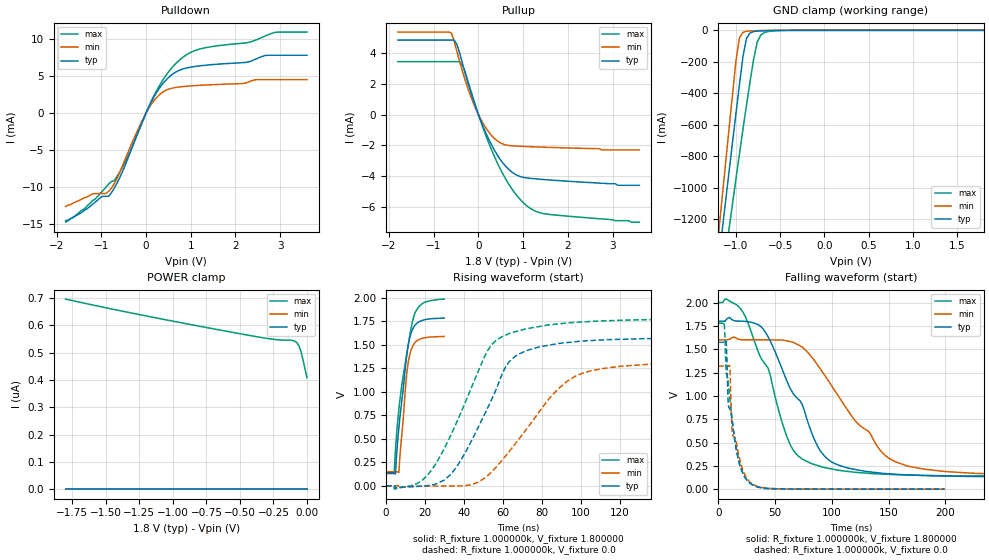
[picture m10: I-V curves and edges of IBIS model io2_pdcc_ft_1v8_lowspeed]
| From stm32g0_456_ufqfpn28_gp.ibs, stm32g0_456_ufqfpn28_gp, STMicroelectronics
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|   Model io2_pdcc_ft_1v8_lowspeed
[Model]  io2_pdcc_ft_1v8_lowspeed
Model_type I/O
Polarity   Non-Inverting
Enable   Active-Low
Vinl =   0.540000V
Vinh =   1.260000V
Vmeas =  0.900000V
Cref =   50.000000pF
Rref =   100.000000M
Vref =   0.0V
C_comp   4.366800pF   3.639100pF   5.105000pF
[Temperature Range]   25.000000   -40.000000   0.125000k
[Pullup Reference]   1.800000V   1.600000V   2.000000V
[Pulldown Reference]   0.0V   0.0V   0.0V
[POWER Clamp Reference]   1.800000V   1.600000V   2.000000V
[GND Clamp Reference]   0.0V   0.0V   0.0V
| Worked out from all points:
|   slope of the pulldown table from 0 to 0.27 V, typ, clamps not added: 87.5 ohm
|   slope of the pullup table from 0 to 0.27 V, typ, clamps not added: 147 ohm
|   GND clamp passes 1 mA (typ) near -0.58 V on its own axis
|   rising waveform, R_fixture 1.000000k, V_fixture 1.800000: 20-80 % time 5.14ns typ, 3.71ns min, 7.01ns max; typ from 0.131 V to 1.78 V
|   rising waveform, R_fixture 1.000000k, V_fixture 0.0: 20-80 % time 21.5ns typ, 30.3ns min, 22.8ns max; typ from 0 V to 1.57 V
|   falling waveform, R_fixture 1.000000k, V_fixture 1.800000: 20-80 % time 37ns typ, 52.6ns min, 31.5ns max; typ from 1.8 V to 0.131 V
|   falling waveform, R_fixture 1.000000k, V_fixture 0.0: 20-80 % time 9.82ns typ, 9.16ns min, 10.7ns max; typ from 1.57 V to 0 V
[Pulldown]
|Voltage   I(typ)   I(min)   I(max)
-1.8V     -14.5mA    -12.6mA    -14.7mA
-1.38V    -13.1mA    -11.4mA    -12.9mA
-900mV    -11.21mA   -10.84mA   -10mA
-780mV    -10.79mA   -10.16mA   -9.24mA
-480mV    -7.221mA   -6.409mA   -6.723mA
60mV      806.3uA    646.5uA    843.8uA
300mV     3.356mA    2.463mA    3.703mA
600mV     5.259mA    3.369mA    6.249mA
1.2V      6.348mA    3.729mA    8.613mA
2.28V     6.866mA    4.147mA    9.489mA
2.88V     7.779mA    4.489mA    10.85mA
3.6V      7.779mA    4.489mA    10.9mA
[Pullup]
|Voltage   I(typ)   I(min)   I(max)
-1.8V     4.843mA    5.363mA    3.44mA
-600mV    4.843mA    5.291mA    3.44mA
-540mV    4.843mA    4.745mA    3.44mA
-420mV    4.004mA    3.449mA    3.44mA
-300mV    2.736mA    2.275mA    2.784mA
-120mV    1.005mA    795.6uA    1.088mA
180mV     -1.289mA   -926.4uA   -1.468mA
480mV     -2.883mA   -1.823mA   -3.482mA
840mV     -3.912mA   -2.048mA   -5.199mA
1.14V     -4.143mA   -2.089mA   -6.059mA
1.44V     -4.22mA    -2.122mA   -6.431mA
3.6V      -4.6mA     -2.3mA     -7mA
[GND_clamp]
|Voltage   I(typ)   I(min)   I(max)
-1.8V     -4.43A     -4.747A    -4.297A
-1.2V     -1.489A    -1.316A    -1.768A
-1.16V    -1.295A    -1.089A    -1.601A
-1.12V    -1.102A    -863.2mA   -1.436A
-1.08V    -909.8mA   -638.7mA   -1.271A
-1V       -530.7mA   -197.2mA   -945.5mA
-960mV    -345.6mA   -47.17mA   -785.2mA
-920mV    -166mA     -12.66mA   -627.5mA
-880mV    -50.53mA   -5.875mA   -473.7mA
-760mV    -4.783mA   -2.396mA   -75.32mA
-680mV    -2.529mA   -1.097mA   -14.51mA
1.8V      0A         0A         305.1nA
[POWER_clamp]
|Voltage   I(typ)   I(min)   I(max)
-1.8V     0A         0A         696.8nA
-1.22V    0A         0A         637nA
-520mV    0A         0A         571.6nA
-260mV    0A         0A         549.8nA
-200mV    0A         0A         546.8nA
-120mV    0A         0A         546.1nA
-100mV    0A         0A         544.2nA
-80mV     0A         0A         539.2nA
-60mV     0A         0A         525.8nA
-40mV     0A         0A         495.9nA
-20mV     0A         0A         451.3nA
0V        0A         0A         408.6nA
[Ramp]
| variable   typ   min   max
dV/dt_r  1.06626/11.69097n   0.94386/12.69962n   1.18619/13.17653n
dV/dt_f  1.07230/25.60331n   0.95160/34.23696n   1.19173/22.45042n
R_load = 10.000000k
[Rising Waveform]
R_fixture= 1.000000k
V_fixture= 1.800000
V_fixture_min= 1.600000
V_fixture_max= 2.000000
|time   V(typ)   V(min)   V(max)
0s        131mV      148.5mV    138.1mV
4.264ns   131mV      148.5mV    139.8mV
4.985ns   142.4mV    148.6mV    398.4mV
6.667ns   619mV      147.5mV    811.3mV
9.91ns    1.245V     1.01V      1.3V
11.05ns   1.444V     1.252V     1.446V
12.37ns   1.588V     1.406V     1.618V
14.47ns   1.696V     1.51V      1.815V
18.86ns   1.761V     1.57V      1.942V
29.91ns   1.785V     1.589V     1.987V
[Rising Waveform]
R_fixture= 1.000000k
V_fixture= 0.0
V_fixture_min= 0.0
V_fixture_max= 0.0
|time   V(typ)   V(min)   V(max)
0s        30.16nV    26.35nV    13.38uV
18.42ns   -4.144mV   -4.632mV   55.4mV
25.23ns   15.91mV    -2.946mV   223mV
32.83ns   113.3mV    -2.022mV   520.3mV
52.05ns   826.4mV    107.9mV    1.437V
63.66ns   1.33V      378.3mV    1.624V
85.29ns   1.503V     967.4mV    1.716V
100.5ns   1.54V      1.197V     1.744V
135.3ns   1.566V     1.294V     1.768V
199.4ns   1.574V     1.316V     1.777V
[Falling Waveform]
R_fixture= 1.000000k
V_fixture= 1.800000
V_fixture_min= 1.600000
V_fixture_max= 2.000000
|time   V(typ)   V(min)   V(max)
0s        1.8V       1.6V       2V
20.02ns   1.8V       1.602V     1.928V
40.04ns   1.709V     1.6V       1.36V
66.07ns   1.024V     1.574V     419.2mV
74.07ns   906.4mV    1.522V     322.9mV
90.09ns   407mV      1.286V     243.6mV
106.1ns   256.9mV    992.5mV    201.9mV
150.2ns   164.7mV    332.3mV    158.5mV
202.2ns   140.2mV    186.8mV    143.8mV
997ns     131mV      148.5mV    138.1mV
[Falling Waveform]
R_fixture= 1.000000k
V_fixture= 0.0
V_fixture_min= 0.0
V_fixture_max= 0.0
|time   V(typ)   V(min)   V(max)
0s        1.575V     1.319V     1.778V
5.205ns   1.575V     1.319V     1.79V
6.807ns   1.587V     1.319V     1.301V
7.608ns   1.42V      1.319V     1.214V
8.809ns   925mV      1.319V     1.151V
10.01ns   864.1mV    1.327V     1.008V
12.41ns   724mV      598.6mV    726.9mV
18.82ns   265.8mV    327.6mV    271.9mV
28.43ns   61.73mV    71.22mV    59.55mV
199.4ns   19.37uV    39.34uV    31.94uV
